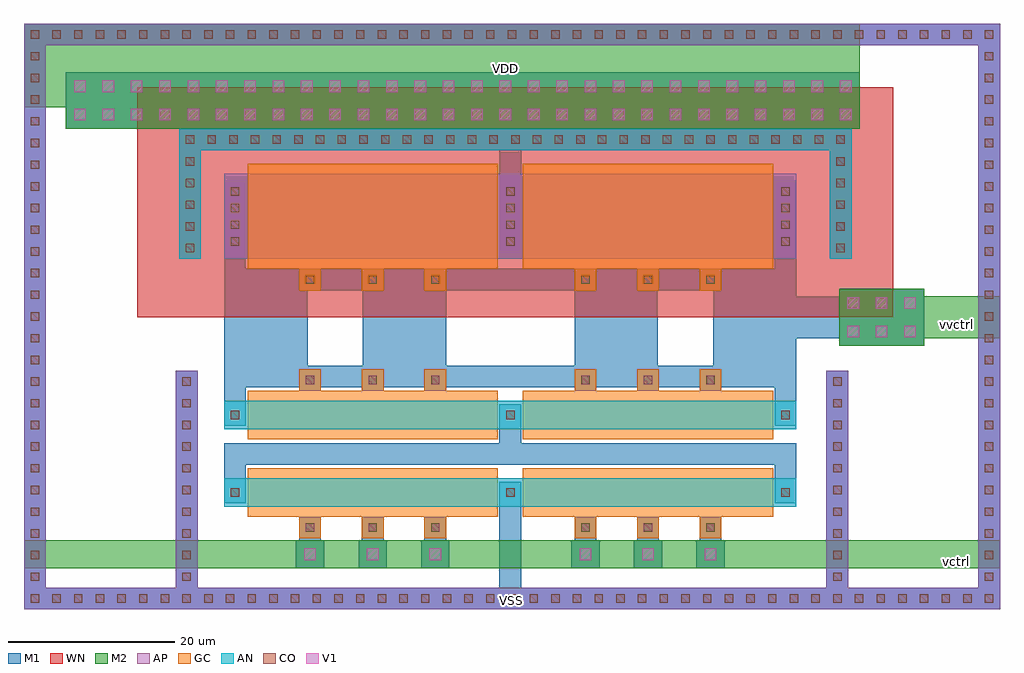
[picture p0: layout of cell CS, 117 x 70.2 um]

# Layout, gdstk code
import gdstk
lib = gdstk.Library(unit=1e-6, precision=1e-07)
def R(c, l, rs):  # rectangles x0, y0, x1, y1
    for r in rs: c.add(gdstk.rectangle(r[:2], r[2:], *l))
def A(c, l, x, y, w, h, nx, ny, dx, dy):  # array of equal rectangles
    R(c, l, [(x+i*dx, y+j*dy, x+i*dx+w, y+j*dy+h) for i in range(nx) for j in range(ny)])
AP = (3, 1)
AN = (3, 2)
GC = (8, 1)
CO = (11, 0)
M1 = (13, 0)
V1 = (19, 0)
M2 = (20, 0)
WN = (140, 0)

fet_n = lib.new_cell('fet_n')
R(fet_n, AN, [(-34.3,-1.7,34.3,1.7)])
A(fet_n, CO, -33.5, -0.5, 1, 1, 3, 1, 33, 0)
A(fet_n, M1, -34.3, -1.3, 2.6, 2.6, 3, 1, 33, 0)
fet_n.add(gdstk.FlexPath([(16.5,-2.9),(16.5,2.9)], 30, ends="flush", simple_path=True, layer=8, datatype=1))  # GC
fet_n.add(gdstk.FlexPath([(-16.5,-2.9),(-16.5,2.9)], 30, ends="flush", simple_path=True, layer=8, datatype=1))  # GC

fet_p = lib.new_cell('fet_p')
R(fet_p, AP, [(-34.3,-5.1,34.3,5.1)])
A(fet_p, CO, -33.5, -3.5, 1, 1, 3, 4, 33, 2)
A(fet_p, M1, -34.3, -4.3, 2.6, 8.6, 3, 1, 33, 0)
fet_p.add(gdstk.FlexPath([(16.5,-6.3),(16.5,6.3)], 30, ends="flush", simple_path=True, layer=8, datatype=1))  # GC
fet_p.add(gdstk.FlexPath([(-16.5,-6.3),(-16.5,6.3)], 30, ends="flush", simple_path=True, layer=8, datatype=1))  # GC

cont_n = lib.new_cell('cont_n')
R(cont_n, AN, [(-1.3,-1.3,1.3,1.3)])
R(cont_n, CO, [(-0.5,-0.5,0.5,0.5)])
R(cont_n, M1, [(-1.3,-1.3,1.3,1.3)])

cont_p = lib.new_cell('cont_p')
R(cont_p, AP, [(-1.3,-1.3,1.3,1.3)])
R(cont_p, CO, [(-0.5,-0.5,0.5,0.5)])
R(cont_p, M1, [(-1.3,-1.3,1.3,1.3)])

via_1 = lib.new_cell('via_1')
R(via_1, M1, [(-1.7,-1.7,1.7,1.7)])
R(via_1, V1, [(-0.7,-0.7,0.7,0.7)])
R(via_1, M2, [(-1.7,-1.7,1.7,1.7)])

cont_g = lib.new_cell('cont_g')
R(cont_g, GC, [(-1.3,-1.3,1.3,1.3)])
R(cont_g, CO, [(-0.5,-0.5,0.5,0.5)])
R(cont_g, M1, [(-1.3,-1.3,1.3,1.3)])

c_cs = lib.new_cell('CS')
R(c_cs, WN, [(-84.1,169.4,6.5,197)])
c_cs.add(gdstk.FlexPath([(-72.4,149.7),(-72.4,154.3)], 2.6, ends="flush", simple_path=True, layer=13, datatype=0))  # M1
c_cs.add(gdstk.FlexPath([(-72.4,153),(-6.4,153)], 2.6, ends="flush", simple_path=True, layer=13, datatype=0))  # M1
c_cs.add(gdstk.FlexPath([(-63.4,142.7),(-63.4,142.9)], 2.6, ends="flush", simple_path=True, layer=13, datatype=0))  # M1
c_cs.add(gdstk.FlexPath([(-55.9,142.7),(-55.9,142.9)], 2.6, ends="flush", simple_path=True, layer=13, datatype=0))  # M1
c_cs.add(gdstk.FlexPath([(-48.4,142.7),(-48.4,142.9)], 2.6, ends="flush", simple_path=True, layer=13, datatype=0))  # M1
c_cs.add(gdstk.FlexPath([(-30.4,142.7),(-30.4,142.9)], 2.6, ends="flush", simple_path=True, layer=13, datatype=0))  # M1
c_cs.add(gdstk.FlexPath([(-22.9,142.7),(-22.9,142.9)], 2.6, ends="flush", simple_path=True, layer=13, datatype=0))  # M1
c_cs.add(gdstk.FlexPath([(-15.4,142.7),(-15.4,142.9)], 2.6, ends="flush", simple_path=True, layer=13, datatype=0))  # M1
c_cs.add(gdstk.FlexPath([(-39.4,156.4),(-39.4,152.9)], 2.6, ends="flush", simple_path=True, layer=13, datatype=0))  # M1
c_cs.add(gdstk.FlexPath([(-6.4,149.7),(-6.4,154.3)], 2.6, ends="flush", simple_path=True, layer=13, datatype=0))  # M1
c_cs.add(gdstk.FlexPath([(-39.4,134.4),(-39.4,147.1)], 2.6, ends="flush", simple_path=True, layer=13, datatype=0))  # M1
c_cs.add(gdstk.FlexPath([(-72.4,159),(-72.4,163.6)], 2.6, ends="flush", simple_path=True, layer=13, datatype=0))  # M1
c_cs.add(gdstk.FlexPath([(-6.4,159),(-6.4,163.6)], 2.6, ends="flush", simple_path=True, layer=13, datatype=0))  # M1
c_cs.add(gdstk.FlexPath([(-72.4,162.3),(-6.4,162.3)], 2.6, ends="flush", simple_path=True, layer=13, datatype=0))  # M1
c_cs.add(gdstk.FlexPath([(-68.7,173.9),(-68.7,162.3)], 10, ends="flush", simple_path=True, layer=13, datatype=0))  # M1
c_cs.add(gdstk.FlexPath([(-10.1,173.9),(-10.1,162.3)], 10, ends="flush", simple_path=True, layer=13, datatype=0))  # M1
c_cs.add(gdstk.FlexPath([(-52.1,173.9),(-52.1,162.3)], 10, ends="flush", simple_path=True, layer=13, datatype=0))  # M1
c_cs.add(gdstk.FlexPath([(-6.4,172.6),(-6.4,177.2)], 2.6, ends="flush", simple_path=True, layer=13, datatype=0))  # M1
c_cs.add(gdstk.FlexPath([(-72.4,172.6),(-72.4,177.2)], 2.6, ends="flush", simple_path=True, layer=13, datatype=0))  # M1
c_cs.add(gdstk.FlexPath([(-72.4,173.9),(-6.4,173.9)], 2.6, ends="flush", simple_path=True, layer=13, datatype=0))  # M1
c_cs.add(gdstk.FlexPath([(-26.7,173.9),(-26.7,162.3)], 10, ends="flush", simple_path=True, layer=13, datatype=0))  # M1
c_cs.add(gdstk.FlexPath([(-8,169.4),(1.8,169.4)], 5, ends="flush", simple_path=True, layer=13, datatype=0))  # M1
c_cs.add(gdstk.FlexPath([(-39.4,178),(-39.4,198)], 2.6, ends="flush", simple_path=True, layer=13, datatype=0))  # M1
c_cs.add(gdstk.FlexPath([(-97.7,199.6),(2.5,199.6)], 10, ends="flush", simple_path=True, layer=20, datatype=0))  # M2
c_cs.add(gdstk.FlexPath([(6.9,169.4),(19.3,169.4)], 5, ends="flush", simple_path=True, layer=20, datatype=0))  # M2
c_cs.add(gdstk.FlexPath([(19.3,141),(-97.7,141)], 3.4, ends="flush", simple_path=True, layer=20, datatype=0))  # M2
c_cs.add(gdstk.Reference(fet_n, (-39.4,157.7)))
c_cs.add(gdstk.Reference(fet_p, (-39.4,181.5)))
c_cs.add(gdstk.Reference(fet_n, (-39.4,148.4)))
c_cs.add(gdstk.Reference(cont_n, (-38.8,190.7)))
c_cs.add(gdstk.Reference(cont_p, (-39.2,203.3)))
c_cs.add(gdstk.Reference(via_1, (-40,193.7)))
c_cs.add(gdstk.Reference(via_1, (-40,197.1)))
c_cs.add(gdstk.Reference(via_1, (1.7,171.1)))
c_cs.add(gdstk.Reference(via_1, (5.1,171.1)))
c_cs.add(gdstk.Reference(via_1, (8.5,171.1)))
c_cs.add(gdstk.Reference(cont_p, (18,169.5)))
c_cs.add(gdstk.Reference(cont_p, (-39.2,135.7)))
c_cs.add(gdstk.Reference(cont_p, (-96.4,169.5)))
c_cs.add(gdstk.Reference(cont_n, (0.2,190.7)))
c_cs.add(gdstk.Reference(cont_n, (-10.2,190.7)))
c_cs.add(gdstk.Reference(cont_p, (-10.6,203.3)))
c_cs.add(gdstk.Reference(cont_p, (-8,203.3)))
c_cs.add(gdstk.Reference(cont_p, (-5.4,203.3)))
c_cs.add(gdstk.Reference(cont_p, (-2.8,203.3)))
c_cs.add(gdstk.Reference(cont_p, (-0.2,203.3)))
c_cs.add(gdstk.Reference(cont_p, (2.4,203.3)))
c_cs.add(gdstk.Reference(cont_p, (5,203.3)))
c_cs.add(gdstk.Reference(cont_p, (7.6,203.3)))
c_cs.add(gdstk.Reference(cont_p, (10.2,203.3)))
c_cs.add(gdstk.Reference(cont_p, (12.8,203.3)))
c_cs.add(gdstk.Reference(cont_p, (15.4,203.3)))
c_cs.add(gdstk.Reference(cont_p, (18,203.3)))
c_cs.add(gdstk.Reference(cont_p, (18,200.7)))
c_cs.add(gdstk.Reference(cont_p, (18,198.1)))
c_cs.add(gdstk.Reference(cont_p, (18,195.5)))
c_cs.add(gdstk.Reference(cont_p, (18,192.9)))
c_cs.add(gdstk.Reference(cont_p, (18,190.3)))
c_cs.add(gdstk.Reference(cont_p, (18,187.7)))
c_cs.add(gdstk.Reference(cont_p, (18,185.1)))
c_cs.add(gdstk.Reference(cont_p, (18,182.5)))
c_cs.add(gdstk.Reference(cont_p, (18,179.9)))
c_cs.add(gdstk.Reference(cont_p, (18,177.3)))
c_cs.add(gdstk.Reference(cont_p, (18,174.7)))
c_cs.add(gdstk.Reference(cont_p, (18,172.1)))
c_cs.add(gdstk.Reference(via_1, (-9.4,193.7)))
c_cs.add(gdstk.Reference(cont_n, (-7.6,190.7)))
c_cs.add(gdstk.Reference(via_1, (-6,193.7)))
c_cs.add(gdstk.Reference(via_1, (-2.6,193.7)))
c_cs.add(gdstk.Reference(via_1, (0.8,193.7)))
c_cs.add(gdstk.Reference(cont_n, (-5,190.7)))
c_cs.add(gdstk.Reference(via_1, (-6,197.1)))
c_cs.add(gdstk.Reference(via_1, (-2.6,197.1)))
c_cs.add(gdstk.Reference(via_1, (0.8,197.1)))
c_cs.add(gdstk.Reference(cont_n, (-2.4,190.7)))
c_cs.add(gdstk.Reference(cont_n, (0.2,180.3)))
c_cs.add(gdstk.Reference(via_1, (-9.4,197.1)))
c_cs.add(gdstk.Reference(cont_n, (0.2,182.9)))
c_cs.add(gdstk.Reference(cont_n, (0.2,185.5)))
c_cs.add(gdstk.Reference(cont_n, (0.2,188.1)))
c_cs.add(gdstk.Reference(cont_g, (-15.4,173.9)))
c_cs.add(gdstk.Reference(cont_n, (-36.2,190.7)))
c_cs.add(gdstk.Reference(cont_n, (-33.6,190.7)))
c_cs.add(gdstk.Reference(cont_n, (-31,190.7)))
c_cs.add(gdstk.Reference(cont_n, (-28.4,190.7)))
c_cs.add(gdstk.Reference(cont_n, (-25.8,190.7)))
c_cs.add(gdstk.Reference(cont_n, (-23.2,190.7)))
c_cs.add(gdstk.Reference(cont_n, (-20.6,190.7)))
c_cs.add(gdstk.Reference(cont_n, (-18,190.7)))
c_cs.add(gdstk.Reference(cont_n, (-15.4,190.7)))
c_cs.add(gdstk.Reference(cont_n, (-12.8,190.7)))
c_cs.add(gdstk.Reference(cont_p, (-36.6,203.3)))
c_cs.add(gdstk.Reference(cont_g, (-30.4,173.9)))
c_cs.add(gdstk.Reference(via_1, (-36.6,193.7)))
c_cs.add(gdstk.Reference(via_1, (-33.2,193.7)))
c_cs.add(gdstk.Reference(via_1, (-29.8,193.7)))
c_cs.add(gdstk.Reference(via_1, (-26.4,193.7)))
c_cs.add(gdstk.Reference(via_1, (-23,193.7)))
c_cs.add(gdstk.Reference(via_1, (-19.6,193.7)))
c_cs.add(gdstk.Reference(via_1, (-16.2,193.7)))
c_cs.add(gdstk.Reference(via_1, (-12.8,193.7)))
c_cs.add(gdstk.Reference(cont_p, (-34,203.3)))
c_cs.add(gdstk.Reference(cont_p, (-31.4,203.3)))
c_cs.add(gdstk.Reference(cont_p, (-28.8,203.3)))
c_cs.add(gdstk.Reference(cont_p, (-26.2,203.3)))
c_cs.add(gdstk.Reference(cont_p, (-23.6,203.3)))
c_cs.add(gdstk.Reference(cont_p, (-21,203.3)))
c_cs.add(gdstk.Reference(cont_p, (-18.4,203.3)))
c_cs.add(gdstk.Reference(cont_g, (-22.9,173.9)))
c_cs.add(gdstk.Reference(via_1, (-36.6,197.1)))
c_cs.add(gdstk.Reference(via_1, (-33.2,197.1)))
c_cs.add(gdstk.Reference(via_1, (-29.8,197.1)))
c_cs.add(gdstk.Reference(via_1, (-26.4,197.1)))
c_cs.add(gdstk.Reference(via_1, (-23,197.1)))
c_cs.add(gdstk.Reference(via_1, (-19.6,197.1)))
c_cs.add(gdstk.Reference(via_1, (-16.2,197.1)))
c_cs.add(gdstk.Reference(via_1, (-12.8,197.1)))
c_cs.add(gdstk.Reference(cont_p, (-15.8,203.3)))
c_cs.add(gdstk.Reference(cont_p, (-13.2,203.3)))
c_cs.add(gdstk.Reference(cont_n, (0.2,177.7)))
c_cs.add(gdstk.Reference(via_1, (-67.2,193.7)))
c_cs.add(gdstk.Reference(via_1, (-67.2,197.1)))
c_cs.add(gdstk.Reference(cont_p, (-67.8,203.3)))
c_cs.add(gdstk.Reference(cont_p, (-57.4,203.3)))
c_cs.add(gdstk.Reference(cont_p, (-54.8,203.3)))
c_cs.add(gdstk.Reference(cont_p, (-52.2,203.3)))
c_cs.add(gdstk.Reference(cont_p, (-49.6,203.3)))
c_cs.add(gdstk.Reference(cont_p, (-47,203.3)))
c_cs.add(gdstk.Reference(cont_p, (-44.4,203.3)))
c_cs.add(gdstk.Reference(cont_n, (-64.8,190.7)))
c_cs.add(gdstk.Reference(cont_n, (-62.2,190.7)))
c_cs.add(gdstk.Reference(cont_n, (-59.6,190.7)))
c_cs.add(gdstk.Reference(cont_n, (-57,190.7)))
c_cs.add(gdstk.Reference(cont_n, (-54.4,190.7)))
c_cs.add(gdstk.Reference(cont_n, (-51.8,190.7)))
c_cs.add(gdstk.Reference(cont_n, (-49.2,190.7)))
c_cs.add(gdstk.Reference(cont_n, (-46.6,190.7)))
c_cs.add(gdstk.Reference(cont_n, (-44,190.7)))
c_cs.add(gdstk.Reference(cont_n, (-41.4,190.7)))
c_cs.add(gdstk.Reference(cont_p, (-41.8,203.3)))
c_cs.add(gdstk.Reference(via_1, (-63.8,193.7)))
c_cs.add(gdstk.Reference(via_1, (-60.4,193.7)))
c_cs.add(gdstk.Reference(via_1, (-57,193.7)))
c_cs.add(gdstk.Reference(via_1, (-53.6,193.7)))
c_cs.add(gdstk.Reference(via_1, (-50.2,193.7)))
c_cs.add(gdstk.Reference(via_1, (-46.8,193.7)))
c_cs.add(gdstk.Reference(via_1, (-43.4,193.7)))
c_cs.add(gdstk.Reference(cont_g, (-55.9,173.9)))
c_cs.add(gdstk.Reference(cont_g, (-48.4,173.9)))
c_cs.add(gdstk.Reference(cont_g, (-63.4,173.9)))
c_cs.add(gdstk.Reference(via_1, (-63.8,197.1)))
c_cs.add(gdstk.Reference(via_1, (-60.4,197.1)))
c_cs.add(gdstk.Reference(via_1, (-57,197.1)))
c_cs.add(gdstk.Reference(via_1, (-53.6,197.1)))
c_cs.add(gdstk.Reference(via_1, (-50.2,197.1)))
c_cs.add(gdstk.Reference(via_1, (-46.8,197.1)))
c_cs.add(gdstk.Reference(via_1, (-43.4,197.1)))
c_cs.add(gdstk.Reference(cont_p, (-65.2,203.3)))
c_cs.add(gdstk.Reference(cont_p, (-62.6,203.3)))
c_cs.add(gdstk.Reference(cont_p, (-60,203.3)))
c_cs.add(gdstk.Reference(via_1, (-74,193.7)))
c_cs.add(gdstk.Reference(cont_n, (-72.6,190.7)))
c_cs.add(gdstk.Reference(cont_n, (-70,190.7)))
c_cs.add(gdstk.Reference(cont_p, (-96.4,200.7)))
c_cs.add(gdstk.Reference(cont_p, (-96.4,198.1)))
c_cs.add(gdstk.Reference(cont_p, (-96.4,195.5)))
c_cs.add(gdstk.Reference(cont_p, (-96.4,192.9)))
c_cs.add(gdstk.Reference(cont_p, (-96.4,190.3)))
c_cs.add(gdstk.Reference(cont_p, (-96.4,187.7)))
c_cs.add(gdstk.Reference(cont_p, (-96.4,185.1)))
c_cs.add(gdstk.Reference(cont_p, (-96.4,182.5)))
c_cs.add(gdstk.Reference(cont_p, (-96.4,179.9)))
c_cs.add(gdstk.Reference(cont_p, (-96.4,177.3)))
c_cs.add(gdstk.Reference(cont_p, (-96.4,174.7)))
c_cs.add(gdstk.Reference(cont_p, (-96.4,172.1)))
c_cs.add(gdstk.Reference(cont_n, (-67.4,190.7)))
c_cs.add(gdstk.Reference(via_1, (-70.6,193.7)))
c_cs.add(gdstk.Reference(via_1, (-77.4,193.7)))
c_cs.add(gdstk.Reference(via_1, (-80.8,193.7)))
c_cs.add(gdstk.Reference(via_1, (-84.2,193.7)))
c_cs.add(gdstk.Reference(via_1, (-87.6,193.7)))
c_cs.add(gdstk.Reference(via_1, (-91,193.7)))
c_cs.add(gdstk.Reference(via_1, (-77.4,197.1)))
c_cs.add(gdstk.Reference(via_1, (-74,197.1)))
c_cs.add(gdstk.Reference(via_1, (-70.6,197.1)))
c_cs.add(gdstk.Reference(cont_n, (-77.8,177.7)))
c_cs.add(gdstk.Reference(cont_n, (-77.8,180.3)))
c_cs.add(gdstk.Reference(cont_n, (-77.8,182.9)))
c_cs.add(gdstk.Reference(cont_n, (-77.8,185.5)))
c_cs.add(gdstk.Reference(cont_p, (-96.4,203.3)))
c_cs.add(gdstk.Reference(cont_p, (-93.8,203.3)))
c_cs.add(gdstk.Reference(cont_p, (-91.2,203.3)))
c_cs.add(gdstk.Reference(cont_p, (-88.6,203.3)))
c_cs.add(gdstk.Reference(cont_p, (-86,203.3)))
c_cs.add(gdstk.Reference(cont_p, (-83.4,203.3)))
c_cs.add(gdstk.Reference(cont_p, (-80.8,203.3)))
c_cs.add(gdstk.Reference(cont_p, (-78.2,203.3)))
c_cs.add(gdstk.Reference(cont_p, (-75.6,203.3)))
c_cs.add(gdstk.Reference(cont_p, (-73,203.3)))
c_cs.add(gdstk.Reference(cont_p, (-70.4,203.3)))
c_cs.add(gdstk.Reference(cont_n, (-77.8,188.1)))
c_cs.add(gdstk.Reference(cont_n, (-77.8,190.7)))
c_cs.add(gdstk.Reference(via_1, (-80.8,197.1)))
c_cs.add(gdstk.Reference(via_1, (-84.2,197.1)))
c_cs.add(gdstk.Reference(via_1, (-87.6,197.1)))
c_cs.add(gdstk.Reference(via_1, (-91,197.1)))
c_cs.add(gdstk.Reference(cont_n, (-75.2,190.7)))
c_cs.add(gdstk.Reference(cont_p, (-93.8,135.7)))
c_cs.add(gdstk.Reference(cont_g, (-55.9,144.2)))
c_cs.add(gdstk.Reference(cont_p, (-91.2,135.7)))
c_cs.add(gdstk.Reference(cont_p, (-88.6,135.7)))
c_cs.add(gdstk.Reference(cont_p, (-78.2,161.7)))
c_cs.add(gdstk.Reference(cont_p, (-78.2,138.3)))
c_cs.add(gdstk.Reference(cont_p, (-78.2,140.9)))
c_cs.add(gdstk.Reference(cont_p, (-96.4,166.9)))
c_cs.add(gdstk.Reference(cont_p, (-86,135.7)))
c_cs.add(gdstk.Reference(cont_p, (-96.4,164.3)))
c_cs.add(gdstk.Reference(cont_p, (-96.4,161.7)))
c_cs.add(gdstk.Reference(cont_p, (-96.4,159.1)))
c_cs.add(gdstk.Reference(cont_p, (-96.4,156.5)))
c_cs.add(gdstk.Reference(cont_p, (-96.4,153.9)))
c_cs.add(gdstk.Reference(cont_p, (-96.4,151.3)))
c_cs.add(gdstk.Reference(cont_p, (-96.4,148.7)))
c_cs.add(gdstk.Reference(cont_p, (-96.4,146.1)))
c_cs.add(gdstk.Reference(cont_p, (-96.4,143.5)))
c_cs.add(gdstk.Reference(cont_p, (-96.4,140.9)))
c_cs.add(gdstk.Reference(cont_p, (-96.4,138.3)))
c_cs.add(gdstk.Reference(cont_p, (-96.4,135.7)))
c_cs.add(gdstk.Reference(cont_p, (-62.6,135.7)))
c_cs.add(gdstk.Reference(via_1, (-63.4,141)))
c_cs.add(gdstk.Reference(via_1, (-55.9,141)))
c_cs.add(gdstk.Reference(via_1, (-48.4,141)))
c_cs.add(gdstk.Reference(cont_g, (-63.4,144.2)))
c_cs.add(gdstk.Reference(cont_p, (-78.2,148.7)))
c_cs.add(gdstk.Reference(cont_p, (-60,135.7)))
c_cs.add(gdstk.Reference(cont_p, (-57.4,135.7)))
c_cs.add(gdstk.Reference(cont_p, (-54.8,135.7)))
c_cs.add(gdstk.Reference(cont_p, (-52.2,135.7)))
c_cs.add(gdstk.Reference(cont_g, (-55.9,161.9)))
c_cs.add(gdstk.Reference(cont_g, (-48.4,161.9)))
c_cs.add(gdstk.Reference(cont_p, (-49.6,135.7)))
c_cs.add(gdstk.Reference(cont_g, (-63.4,161.9)))
c_cs.add(gdstk.Reference(cont_p, (-83.4,135.7)))
c_cs.add(gdstk.Reference(cont_p, (-47,135.7)))
c_cs.add(gdstk.Reference(cont_p, (-44.4,135.7)))
c_cs.add(gdstk.Reference(cont_p, (-78.2,159.1)))
c_cs.add(gdstk.Reference(cont_p, (-78.2,156.5)))
c_cs.add(gdstk.Reference(cont_p, (-78.2,153.9)))
c_cs.add(gdstk.Reference(cont_p, (-78.2,151.3)))
c_cs.add(gdstk.Reference(cont_p, (-41.8,135.7)))
c_cs.add(gdstk.Reference(cont_p, (-80.8,135.7)))
c_cs.add(gdstk.Reference(cont_g, (-48.4,144.2)))
c_cs.add(gdstk.Reference(cont_p, (-78.2,135.7)))
c_cs.add(gdstk.Reference(cont_p, (-75.6,135.7)))
c_cs.add(gdstk.Reference(cont_p, (-73,135.7)))
c_cs.add(gdstk.Reference(cont_p, (-70.4,135.7)))
c_cs.add(gdstk.Reference(cont_p, (-67.8,135.7)))
c_cs.add(gdstk.Reference(cont_p, (-65.2,135.7)))
c_cs.add(gdstk.Reference(cont_p, (-78.2,146.1)))
c_cs.add(gdstk.Reference(cont_p, (-78.2,143.5)))
c_cs.add(gdstk.Reference(cont_p, (-0.2,151.3)))
c_cs.add(gdstk.Reference(cont_p, (-0.2,146.1)))
c_cs.add(gdstk.Reference(cont_p, (-0.2,143.5)))
c_cs.add(gdstk.Reference(cont_p, (18,146.1)))
c_cs.add(gdstk.Reference(cont_p, (18,143.5)))
c_cs.add(gdstk.Reference(cont_p, (18,140.9)))
c_cs.add(gdstk.Reference(cont_p, (18,138.3)))
c_cs.add(gdstk.Reference(cont_p, (18,135.7)))
c_cs.add(gdstk.Reference(via_1, (1.7,167.7)))
c_cs.add(gdstk.Reference(via_1, (5.1,167.7)))
c_cs.add(gdstk.Reference(via_1, (8.5,167.7)))
c_cs.add(gdstk.Reference(cont_g, (-22.9,144.2)))
c_cs.add(gdstk.Reference(cont_g, (-15.4,144.2)))
c_cs.add(gdstk.Reference(via_1, (-30.4,141)))
c_cs.add(gdstk.Reference(cont_p, (-0.2,161.7)))
c_cs.add(gdstk.Reference(cont_p, (-36.6,135.7)))
c_cs.add(gdstk.Reference(via_1, (-22.9,141)))
c_cs.add(gdstk.Reference(cont_p, (-34,135.7)))
c_cs.add(gdstk.Reference(cont_p, (-31.4,135.7)))
c_cs.add(gdstk.Reference(cont_g, (-30.4,144.2)))
c_cs.add(gdstk.Reference(via_1, (-15.4,141)))
c_cs.add(gdstk.Reference(cont_p, (18,166.9)))
c_cs.add(gdstk.Reference(cont_p, (18,164.3)))
c_cs.add(gdstk.Reference(cont_p, (18,161.7)))
c_cs.add(gdstk.Reference(cont_p, (18,159.1)))
c_cs.add(gdstk.Reference(cont_p, (18,156.5)))
c_cs.add(gdstk.Reference(cont_p, (18,153.9)))
c_cs.add(gdstk.Reference(cont_p, (18,151.3)))
c_cs.add(gdstk.Reference(cont_p, (18,148.7)))
c_cs.add(gdstk.Reference(cont_p, (-28.8,135.7)))
c_cs.add(gdstk.Reference(cont_p, (-26.2,135.7)))
c_cs.add(gdstk.Reference(cont_p, (-13.2,135.7)))
c_cs.add(gdstk.Reference(cont_g, (-30.4,161.9)))
c_cs.add(gdstk.Reference(cont_g, (-22.9,161.9)))
c_cs.add(gdstk.Reference(cont_g, (-15.4,161.9)))
c_cs.add(gdstk.Reference(cont_p, (-10.6,135.7)))
c_cs.add(gdstk.Reference(cont_p, (-8,135.7)))
c_cs.add(gdstk.Reference(cont_p, (-23.6,135.7)))
c_cs.add(gdstk.Reference(cont_p, (-21,135.7)))
c_cs.add(gdstk.Reference(cont_p, (-18.4,135.7)))
c_cs.add(gdstk.Reference(cont_p, (-15.8,135.7)))
c_cs.add(gdstk.Reference(cont_p, (-5.4,135.7)))
c_cs.add(gdstk.Reference(cont_p, (-2.8,135.7)))
c_cs.add(gdstk.Reference(cont_p, (-0.2,135.7)))
c_cs.add(gdstk.Reference(cont_p, (2.4,135.7)))
c_cs.add(gdstk.Reference(cont_p, (5,135.7)))
c_cs.add(gdstk.Reference(cont_p, (7.6,135.7)))
c_cs.add(gdstk.Reference(cont_p, (10.2,135.7)))
c_cs.add(gdstk.Reference(cont_p, (-0.2,140.9)))
c_cs.add(gdstk.Reference(cont_p, (12.8,135.7)))
c_cs.add(gdstk.Reference(cont_p, (-0.2,138.3)))
c_cs.add(gdstk.Reference(cont_p, (-0.2,148.7)))
c_cs.add(gdstk.Reference(cont_p, (-0.2,159.1)))
c_cs.add(gdstk.Reference(cont_p, (-0.2,156.5)))
c_cs.add(gdstk.Reference(cont_p, (15.4,135.7)))
c_cs.add(gdstk.Reference(cont_p, (18,135.7)))
c_cs.add(gdstk.Reference(cont_p, (-0.2,153.9)))
c_cs.add(gdstk.Label('vctrl', (14.1,140.1), layer=49, texttype=0))
c_cs.add(gdstk.Label('vvctrl', (14.1,168.5), layer=49, texttype=0))
c_cs.add(gdstk.Label('VDD', (-40,199.2), layer=49, texttype=0))
c_cs.add(gdstk.Label('VSS', (-39.3,135.5), layer=48, texttype=0))

lib.write_gds('CS.gds')
